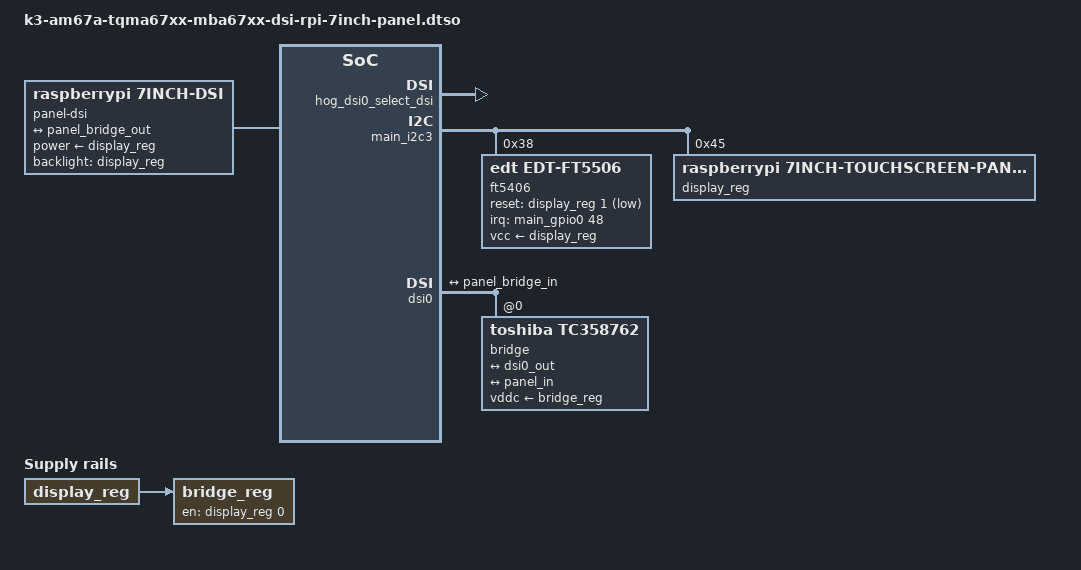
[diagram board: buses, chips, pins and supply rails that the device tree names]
// SPDX-License-Identifier: GPL-2.0-or-later OR MIT
/**
 * DT Overlay for RPi 7inch touchscreen panel interfaced with DSI on
 * MBa67xx
 *
 * RPi DSI Panel: https://www.raspberrypi.com/products/raspberry-pi-touch-display/
 *
 * Copyright (C) 2024 Texas Instruments Incorporated - https://www.ti.com/
 * Copyright (c) 2025-2026 TQ-Systems GmbH <linux@ew.tq-group.com>, D-82229 Seefeld, Germany.
 * Author: Nora Schiffer
 */

/dts-v1/;
/plugin/;

#include <dt-bindings/gpio/gpio.h>
#include <dt-bindings/interrupt-controller/irq.h>

#include "k3-pinctrl.h"

&{/} {
	panel-dsi {
		compatible = "raspberrypi,7inch-dsi", "simple-panel";
		backlight = <&display_reg>;
		power-supply = <&display_reg>;

		port {
			panel_in: endpoint {
				remote-endpoint = <&panel_bridge_out>;
			};
		};
	};

	bridge_reg: bridge-regulator {
		compatible = "regulator-fixed";
		regulator-name = "bridge-reg";
		gpio = <&display_reg 0 GPIO_ACTIVE_HIGH>;
		vin-supply = <&display_reg>;
		enable-active-high;
	};
};

&dp {
	status = "disabled";
};

&hog_dsi0_select_dp {
	status = "disabled";
};

&hog_dsi0_select_dsi {
	status = "okay";
};

&main_i2c3 {
	#address-cells = <1>;
	#size-cells = <0>;

	ft5406: touchscreen@38 {
		compatible = "edt,edt-ft5506";
		reg = <0x38>;
		interrupt-parent = <&main_gpio0>;
		interrupts = <48 IRQ_TYPE_EDGE_FALLING>;
		reset-gpio = <&display_reg 1 GPIO_ACTIVE_LOW>;
		touchscreen-inverted-x;
		touchscreen-inverted-y;
		touchscreen-size-x = <800>;
		touchscreen-size-y = <480>;
		vcc-supply = <&display_reg>;
	};

	display_reg: regulator@45 {
		compatible = "raspberrypi,7inch-touchscreen-panel-regulator";
		reg = <0x45>;
		gpio-controller;
		#gpio-cells = <2>;
	};
};

&dsi0 {
	#address-cells = <1>;
	#size-cells = <0>;

	ports {
		#address-cells = <1>;
		#size-cells = <0>;

		port@0 {
			reg = <0>;

			dsi0_out: endpoint {
				remote-endpoint = <&panel_bridge_in>;
			};
		};
	};

	bridge@0 {
		compatible = "toshiba,tc358762";
		reg = <0>;
		vddc-supply = <&bridge_reg>;
		status = "okay";

		ports {
			#address-cells = <1>;
			#size-cells = <0>;

			port@0 {
				reg = <0>;

				panel_bridge_in: endpoint {
					remote-endpoint = <&dsi0_out>;
				};
			};

			port@1 {
				reg = <1>;

				panel_bridge_out: endpoint {
					remote-endpoint = <&panel_in>;
				};
			};
		};
	};
};

&dsi_dp_bridge {
	status = "disabled";
};

&reg_3v3_dp {
	status = "disabled";
};
